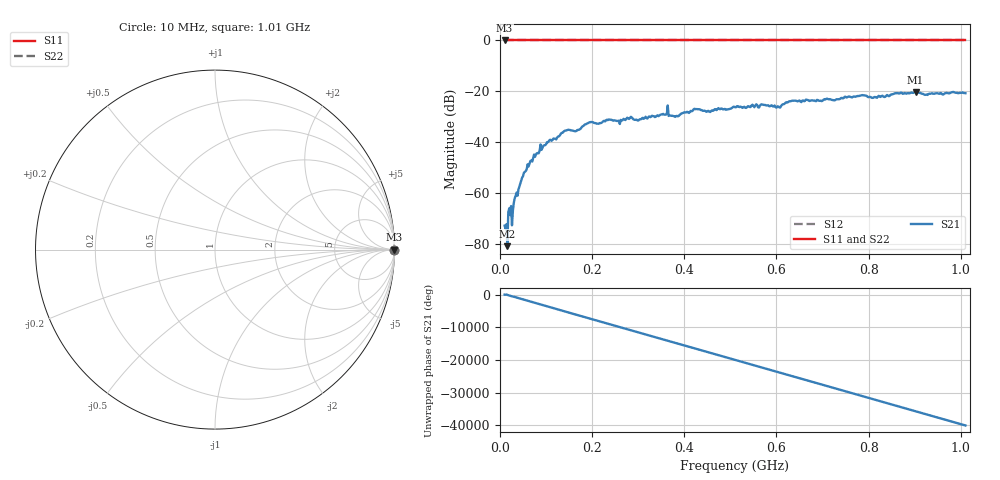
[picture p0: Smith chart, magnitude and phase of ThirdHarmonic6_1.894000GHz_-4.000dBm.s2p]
! 8/16/2025 10:51:53 PM
! C:\ANRITSUVNA\TEMP\TEMP.S2P
! CHANNEL.1
! TR.MEASUREMENT
! RAW.DATA
! RF.CORRECTION.OFF
! AVERAGING.OFF
! IF.BANDWIDTH: 5KHZ
! SWEEPTYPE:  FREQ.SWEEP(Linear)
! Reference Plane Port Info
! PORT:  PORT1  PORT2
! DISTANCE:  0  m  0  m
! TIME:  0  s  0  s
! PHASE.OFFSET:  0  deg.  0  deg.
! LOSS:  0  dB  0  dB
! REF.LOSS:  0  dB  0  dB
! REF.FREQ:  0  Hz  0  Hz
! Power Info
! POWER:  -20  dBm  -20  dBm
! EFF.POWER:  -20  dBm  -20  dBm
! SOURCE.ATTEN:  0  dB  0  dB
! TEST.ATTEN:  0  dB  0  dB
# GHZ S RI R 50.0
! FREQ.GHZ  S11RE  S11IM  S21RE  S21IM  S12RE  S12IM  S22RE  S22IM
!; PortSelection: Port_12
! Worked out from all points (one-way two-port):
!   501 points, 10 MHz to 1.01 GHz, reference 50 ohm
!   highest |S21| = -20.21 dB at 902 MHz (marker M1); lowest = -80.8 dB at 16 MHz (marker M2)
!   lowest |S11| = 0.0 dB at 10 MHz (marker M3)
!   |S11| at or under -10 dB: nowhere
!   |S22| runs from 0.0 to 0.0 dB; largest |S21 - S12| = 1.1
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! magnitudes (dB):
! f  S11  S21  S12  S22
! 10 MHz  0.0  -72.7  0.0  0.0
! 12 MHz  0.0  -74.0  0.0  0.0
! 16 MHz  0.0  -80.8  0.0  0.0
! 30 MHz  0.0  -63.7  0.0  0.0
! 50 MHz  0.0  -53.3  0.0  0.0
! 76 MHz  0.0  -45.7  0.0  0.0
! 106 MHz  0.0  -39.5  0.0  0.0
! 138 MHz  0.0  -35.8  0.0  0.0
! 178 MHz  0.0  -33.9  0.0  0.0
! 196 MHz  0.0  -32.1  0.0  0.0
! 344 MHz  0.0  -29.7  0.0  0.0
! 360 MHz  0.0  -29.1  0.0  0.0
! 384 MHz  0.0  -29.6  0.0  0.0
! 424 MHz  0.0  -27.0  0.0  0.0
! 452 MHz  0.0  -27.6  0.0  0.0
! 510 MHz  0.0  -26.2  0.0  0.0
! 604 MHz  0.0  -25.9  0.0  0.0
! 632 MHz  0.0  -23.8  0.0  0.0
! 678 MHz  0.0  -23.5  0.0  0.0
! 844 MHz  0.0  -21.9  0.0  0.0
! 902 MHz  0.0  -20.2  0.0  0.0
! 1.01 GHz  0.0  -20.7  0.0  0.0
